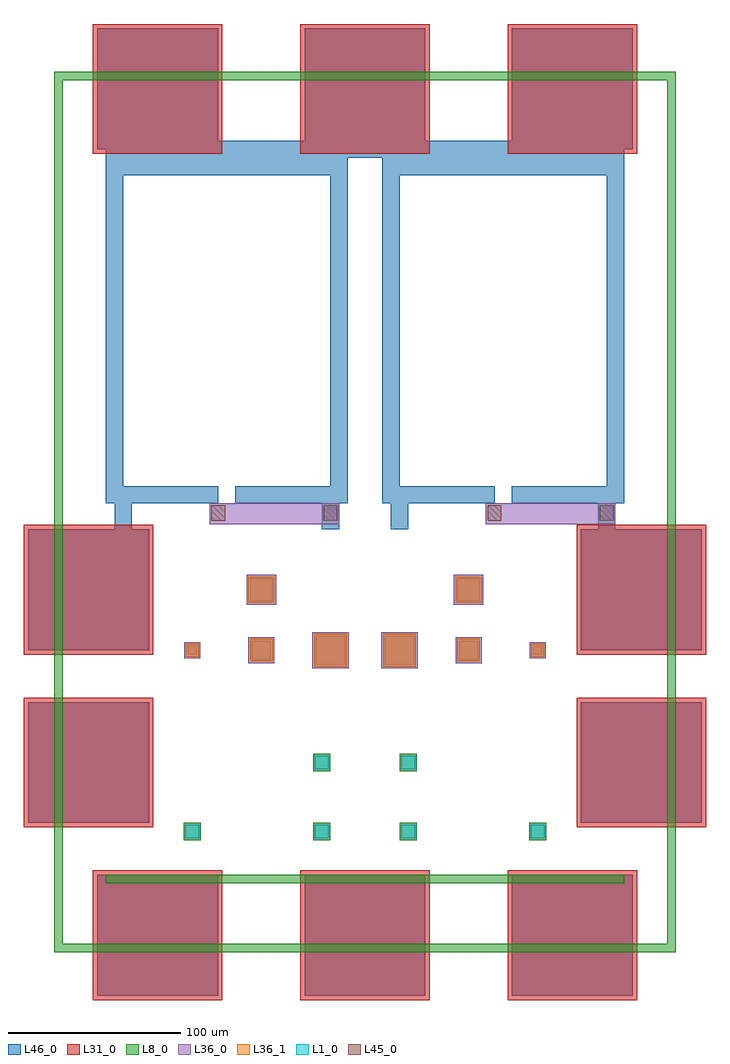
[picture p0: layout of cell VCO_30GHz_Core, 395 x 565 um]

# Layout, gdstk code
import gdstk
lib = gdstk.Library(unit=1e-6, precision=1e-09)
def R(c, l, rs):  # rectangles x0, y0, x1, y1
    for r in rs: c.add(gdstk.rectangle(r[:2], r[2:], *l))
L1_0 = (1, 0)
L8_0 = (8, 0)
L31_0 = (31, 0)
L36_0 = (36, 0)
L36_1 = (36, 1)
L45_0 = (45, 0)
L46_0 = (46, 0)

ind_l1 = lib.new_cell('IND_L1')
R(ind_l1, L36_0, [(-10,-12,65,0)])
R(ind_l1, L45_0, [(-9,-10,-1,-1), (56,-10,64,-1)])
R(ind_l1, L46_0, [(-65,-15,-55,0), (55,-15,65,0), (-70,0,-60,200), (-70,0,-5,10), (5,0,70,10), (60,0,70,200), (-70,190,70,200)])
ind_l1.add(gdstk.Label('L1 53pH', (0,100), layer=63, texttype=0))

ind_l2 = lib.new_cell('IND_L2')
R(ind_l2, L36_0, [(-10,-12,65,0)])
R(ind_l2, L45_0, [(-9,-10,-1,-1), (56,-10,64,-1)])
R(ind_l2, L46_0, [(-65,-15,-55,0), (55,-15,65,0), (-70,0,-60,200), (-70,0,-5,10), (5,0,70,10), (60,0,70,200), (-70,190,70,200)])
ind_l2.add(gdstk.Label('L2 53pH', (0,100), layer=63, texttype=0))

mim_cbase_x = lib.new_cell('MIM_Cbase_x')
R(mim_cbase_x, L36_0, [(-8.555,-8.555,8.555,8.555)])
R(mim_cbase_x, L36_1, [(-7.555,-7.555,7.555,7.555)])
R(mim_cbase_x, L46_0, [(-6.555,-6.555,6.555,6.555)])
mim_cbase_x.add(gdstk.Label('Cbase_x', (0,0), layer=63, texttype=0))

mim_cbase_y = lib.new_cell('MIM_Cbase_y')
R(mim_cbase_y, L36_0, [(-8.555,-8.555,8.555,8.555)])
R(mim_cbase_y, L36_1, [(-7.555,-7.555,7.555,7.555)])
R(mim_cbase_y, L46_0, [(-6.555,-6.555,6.555,6.555)])
mim_cbase_y.add(gdstk.Label('Cbase_y', (0,0), layer=63, texttype=0))

mim_csw0_x = lib.new_cell('MIM_Csw0_x')
R(mim_csw0_x, L36_0, [(-4.675,-4.675,4.675,4.675)])
R(mim_csw0_x, L36_1, [(-3.675,-3.675,3.675,3.675)])
R(mim_csw0_x, L46_0, [(-2.675,-2.675,2.675,2.675)])
mim_csw0_x.add(gdstk.Label('Csw0_x', (0,0), layer=63, texttype=0))

mim_csw0_y = lib.new_cell('MIM_Csw0_y')
R(mim_csw0_y, L36_0, [(-4.675,-4.675,4.675,4.675)])
R(mim_csw0_y, L36_1, [(-3.675,-3.675,3.675,3.675)])
R(mim_csw0_y, L46_0, [(-2.675,-2.675,2.675,2.675)])
mim_csw0_y.add(gdstk.Label('Csw0_y', (0,0), layer=63, texttype=0))

mim_csw1_x = lib.new_cell('MIM_Csw1_x')
R(mim_csw1_x, L36_0, [(-7.5,-7.5,7.5,7.5)])
R(mim_csw1_x, L36_1, [(-6.5,-6.5,6.5,6.5)])
R(mim_csw1_x, L46_0, [(-5.5,-5.5,5.5,5.5)])
mim_csw1_x.add(gdstk.Label('Csw1_x', (0,0), layer=63, texttype=0))

mim_csw1_y = lib.new_cell('MIM_Csw1_y')
R(mim_csw1_y, L36_0, [(-7.5,-7.5,7.5,7.5)])
R(mim_csw1_y, L36_1, [(-6.5,-6.5,6.5,6.5)])
R(mim_csw1_y, L46_0, [(-5.5,-5.5,5.5,5.5)])
mim_csw1_y.add(gdstk.Label('Csw1_y', (0,0), layer=63, texttype=0))

mim_csw2_x = lib.new_cell('MIM_Csw2_x')
R(mim_csw2_x, L36_0, [(-10.5,-10.5,10.5,10.5)])
R(mim_csw2_x, L36_1, [(-9.5,-9.5,9.5,9.5)])
R(mim_csw2_x, L46_0, [(-8.5,-8.5,8.5,8.5)])
mim_csw2_x.add(gdstk.Label('Csw2_x', (0,0), layer=63, texttype=0))

mim_csw2_y = lib.new_cell('MIM_Csw2_y')
R(mim_csw2_y, L36_0, [(-10.5,-10.5,10.5,10.5)])
R(mim_csw2_y, L36_1, [(-9.5,-9.5,9.5,9.5)])
R(mim_csw2_y, L46_0, [(-8.5,-8.5,8.5,8.5)])
mim_csw2_y.add(gdstk.Label('Csw2_y', (0,0), layer=63, texttype=0))

npn_q1 = lib.new_cell('NPN_Q1')
R(npn_q1, L1_0, [(-4,-4,4,4)])
R(npn_q1, L8_0, [(-5,-5,5,5)])
npn_q1.add(gdstk.Label('Q1 m=4', (0,0), layer=63, texttype=0))

npn_q2 = lib.new_cell('NPN_Q2')
R(npn_q2, L1_0, [(-4,-4,4,4)])
R(npn_q2, L8_0, [(-5,-5,5,5)])
npn_q2.add(gdstk.Label('Q2 m=4', (0,0), layer=63, texttype=0))

npn_mref = lib.new_cell('NPN_Mref')
R(npn_mref, L1_0, [(-4,-4,4,4)])
R(npn_mref, L8_0, [(-5,-5,5,5)])
npn_mref.add(gdstk.Label('Mref m=4', (0,0), layer=63, texttype=0))

npn_mtail = lib.new_cell('NPN_Mtail')
R(npn_mtail, L1_0, [(-4,-4,4,4)])
R(npn_mtail, L8_0, [(-5,-5,5,5)])
npn_mtail.add(gdstk.Label('Mtail m=10', (0,0), layer=63, texttype=0))

npn_buf_x = lib.new_cell('NPN_Buf_x')
R(npn_buf_x, L1_0, [(-4,-4,4,4)])
R(npn_buf_x, L8_0, [(-5,-5,5,5)])
npn_buf_x.add(gdstk.Label('Buf_x m=1', (0,0), layer=63, texttype=0))

npn_buf_y = lib.new_cell('NPN_Buf_y')
R(npn_buf_y, L1_0, [(-4,-4,4,4)])
R(npn_buf_y, L8_0, [(-5,-5,5,5)])
npn_buf_y.add(gdstk.Label('Buf_y m=1', (0,0), layer=63, texttype=0))

pad_vdd1 = lib.new_cell('PAD_VDD1')
R(pad_vdd1, L31_0, [(-37.5,-37.5,37.5,37.5)])
R(pad_vdd1, L46_0, [(-35,-35,35,35)])
pad_vdd1.add(gdstk.Label('VDD1', (0,0), layer=63, texttype=0))

pad_vdd2 = lib.new_cell('PAD_VDD2')
R(pad_vdd2, L31_0, [(-37.5,-37.5,37.5,37.5)])
R(pad_vdd2, L46_0, [(-35,-35,35,35)])
pad_vdd2.add(gdstk.Label('VDD2', (0,0), layer=63, texttype=0))

pad_vdd3 = lib.new_cell('PAD_VDD3')
R(pad_vdd3, L31_0, [(-37.5,-37.5,37.5,37.5)])
R(pad_vdd3, L46_0, [(-35,-35,35,35)])
pad_vdd3.add(gdstk.Label('VDD3', (0,0), layer=63, texttype=0))

pad_gnd1 = lib.new_cell('PAD_GND1')
R(pad_gnd1, L31_0, [(-37.5,-37.5,37.5,37.5)])
R(pad_gnd1, L46_0, [(-35,-35,35,35)])
pad_gnd1.add(gdstk.Label('GND1', (0,0), layer=63, texttype=0))

pad_gnd2 = lib.new_cell('PAD_GND2')
R(pad_gnd2, L31_0, [(-37.5,-37.5,37.5,37.5)])
R(pad_gnd2, L46_0, [(-35,-35,35,35)])
pad_gnd2.add(gdstk.Label('GND2', (0,0), layer=63, texttype=0))

pad_gnd3 = lib.new_cell('PAD_GND3')
R(pad_gnd3, L31_0, [(-37.5,-37.5,37.5,37.5)])
R(pad_gnd3, L46_0, [(-35,-35,35,35)])
pad_gnd3.add(gdstk.Label('GND3', (0,0), layer=63, texttype=0))

pad_out_ = lib.new_cell('PAD_OUT+')
R(pad_out_, L31_0, [(-37.5,-37.5,37.5,37.5)])
R(pad_out_, L46_0, [(-35,-35,35,35)])
pad_out_.add(gdstk.Label('OUT+', (0,0), layer=63, texttype=0))

c_pad_out_ = lib.new_cell('PAD_OUT-')
R(c_pad_out_, L31_0, [(-37.5,-37.5,37.5,37.5)])
R(c_pad_out_, L46_0, [(-35,-35,35,35)])
c_pad_out_.add(gdstk.Label('OUT-', (0,0), layer=63, texttype=0))

pad_ctrl = lib.new_cell('PAD_CTRL')
R(pad_ctrl, L31_0, [(-37.5,-37.5,37.5,37.5)])
R(pad_ctrl, L46_0, [(-35,-35,35,35)])
pad_ctrl.add(gdstk.Label('CTRL', (0,0), layer=63, texttype=0))

pad_d0_2 = lib.new_cell('PAD_D0_2')
R(pad_d0_2, L31_0, [(-37.5,-37.5,37.5,37.5)])
R(pad_d0_2, L46_0, [(-35,-35,35,35)])
pad_d0_2.add(gdstk.Label('D0_2', (0,0), layer=63, texttype=0))

vco_30ghz_core = lib.new_cell('VCO_30GHz_Core')
R(vco_30ghz_core, L8_0, [(-180,-80,180,-75), (-180,-80,-175,430), (175,-80,180,430), (-150,-40,150,-35), (-180,425,180,430)])
R(vco_30ghz_core, L46_0, [(-150,380,150,390)])
vco_30ghz_core.add(gdstk.Reference(ind_l1, (-80,180)))
vco_30ghz_core.add(gdstk.Reference(ind_l2, (80,180)))
vco_30ghz_core.add(gdstk.Reference(mim_cbase_x, (-60,130)))
vco_30ghz_core.add(gdstk.Reference(mim_cbase_y, (60,130)))
vco_30ghz_core.add(gdstk.Reference(mim_csw0_x, (-100,95)))
vco_30ghz_core.add(gdstk.Reference(mim_csw0_y, (100,95)))
vco_30ghz_core.add(gdstk.Reference(mim_csw1_x, (-60,95)))
vco_30ghz_core.add(gdstk.Reference(mim_csw1_y, (60,95)))
vco_30ghz_core.add(gdstk.Reference(mim_csw2_x, (-20,95)))
vco_30ghz_core.add(gdstk.Reference(mim_csw2_y, (20,95)))
vco_30ghz_core.add(gdstk.Reference(npn_q1, (-25,30)))
vco_30ghz_core.add(gdstk.Reference(npn_q2, (25,30)))
vco_30ghz_core.add(gdstk.Reference(npn_mref, (-25,-10)))
vco_30ghz_core.add(gdstk.Reference(npn_mtail, (25,-10)))
vco_30ghz_core.add(gdstk.Reference(npn_buf_x, (-100,-10)))
vco_30ghz_core.add(gdstk.Reference(npn_buf_y, (100,-10)))
vco_30ghz_core.add(gdstk.Reference(pad_vdd1, (-120,420)))
vco_30ghz_core.add(gdstk.Reference(pad_vdd2, (0,420)))
vco_30ghz_core.add(gdstk.Reference(pad_vdd3, (120,420)))
vco_30ghz_core.add(gdstk.Reference(pad_gnd1, (-120,-70)))
vco_30ghz_core.add(gdstk.Reference(pad_gnd2, (0,-70)))
vco_30ghz_core.add(gdstk.Reference(pad_gnd3, (120,-70)))
vco_30ghz_core.add(gdstk.Reference(pad_out_, (-160,130)))
vco_30ghz_core.add(gdstk.Reference(c_pad_out_, (160,130)))
vco_30ghz_core.add(gdstk.Reference(pad_ctrl, (-160,30)))
vco_30ghz_core.add(gdstk.Reference(pad_d0_2, (160,30)))

lib.write_gds('VCO_30GHz_Core.gds')
